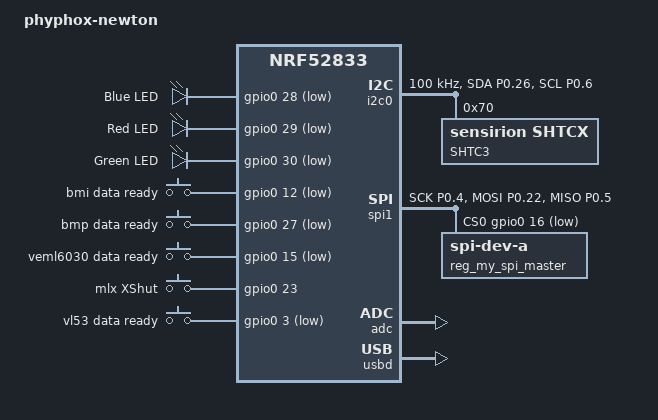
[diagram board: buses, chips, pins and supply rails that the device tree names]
/*
 * Copyright (c) 2017 Linaro Limited
 *
 * SPDX-License-Identifier: Apache-2.0
 */

 /dts-v1/;
 #include <nordic/nrf52833_qiaa.dtsi>
 
 / {
	 model = "phyphox-newton";
	 compatible = "phyphox,newton-n1";
	 aliases {
		i2c = &i2c0;
		spi= &spi1;
		led-blue = &led0;
		led-red = &led1;
		led-green = &led2;
		shtc-3 = &shtc3_node;
	 };
 
	 chosen {
		 zephyr,console = &uart0;
		 zephyr,shell-uart = &uart0;
		 zephyr,uart-mcumgr = &uart0;
		 zephyr,bt-mon-uart = &uart0;
		 zephyr,bt-c2h-uart = &uart0;
		 zephyr,sram = &sram0;
		 zephyr,flash = &flash0;
		 zephyr,code-partition = &slot0_partition;
	 };
 
	 leds {
		 compatible = "gpio-leds";
		 led0: led_0 {
			 gpios = <&gpio0 28 GPIO_ACTIVE_LOW>;
			 label = "Blue LED";
		 };
		 led1: led_1 {
			 gpios = <&gpio0 29 GPIO_ACTIVE_LOW>;
			 label = "Red LED";
		 };
		 led2: led_2 {
			gpios = <&gpio0 30 GPIO_ACTIVE_LOW>;
			label = "Green LED";
		};		 
	 };
	buttons {
		compatible = "gpio-keys";
		button0: button_0 { // INT1 P0.12 Gpio 15 ; INT2 P0.11 GPIO14
			gpios = <&gpio0 12 (GPIO_ACTIVE_LOW)>;
			label = "bmi data ready";
		};
		button1: button_1 { // gpio31 P0.27
			gpios = <&gpio0 27 (GPIO_ACTIVE_LOW)>;
			label = "bmp data ready";
		};
		button2: button_2 { // gpio40 P0.15
			gpios = <&gpio0 15 (GPIO_ACTIVE_LOW)>;
			label = "veml6030 data ready";
		};
		button3: button_3 { // gpio39 P0.23
			gpios = <&gpio0 23 (GPIO_ACTIVE_HIGH)>;
			label = "mlx XShut";
		};
		button4: button_4 { // gpio19 P0.03
			gpios = <&gpio0 3 (GPIO_ACTIVE_LOW)>;
			label = "vl53 data ready";
		};
	};
 };

 &pinctrl {
    i2c0_default: i2c0_default {
		group1 {
			psels = <NRF_PSEL(TWIM_SDA, 0, 26)>, <NRF_PSEL(TWIM_SCL, 0, 6)>;
		};
	};
    i2c0_sleep: i2c0_sleep {
		group1 {
			psels = <NRF_PSEL(TWIM_SDA, 0, 26)>, <NRF_PSEL(TWIM_SCL, 0, 6)>;
		};
	};
	spi_master_default: spi_master_default {
		group1 {
			psels = <NRF_PSEL(SPIM_SCK, 0, 4)>,
					<NRF_PSEL(SPIM_MOSI, 0, 22)>,
					<NRF_PSEL(SPIM_MISO, 0, 5)>;
		};
	};
	spi_master_sleep: spi_master_sleep {
		group1 {
			psels = <NRF_PSEL(SPIM_SCK, 0, 4)>,
					<NRF_PSEL(SPIM_MOSI, 0, 22)>,
					<NRF_PSEL(SPIM_MISO, 0, 5)>;
			low-power-enable;
		};
	};	
};

 i2c_0: &i2c0 {
    compatible = "nordic,nrf-twim";
    status = "okay";
    //sda-pin = < 26 >;
    //scl-pin = < 6 >;
	pinctrl-0 = <&i2c0_default>;
	pinctrl-1 = <&i2c0_sleep>;
	pinctrl-names = "default", "sleep";
    label = "i2c";
    clock-frequency = <I2C_BITRATE_STANDARD>;

	shtc3_node: shtcx@70 {
		compatible = "sensirion,shtcx";
		chip = "shtc3";
		measure-mode = "low-power";
		reg = <0x70>;
		label = "SHTC3";
	};
};

my_spi_master: &spi1 {
	compatible = "nordic,nrf-spim";
	status = "okay";
	pinctrl-0 = <&spi_master_default>;
	pinctrl-1 = <&spi_master_sleep>;
	pinctrl-names = "default", "sleep";
	cs-gpios = <&gpio0 16 GPIO_ACTIVE_LOW>;
	reg_my_spi_master: spi-dev-a@0 {
		reg = <0>;
	};
};
 
 &adc {
	 status = "okay";
 };
 
 &gpiote {
	 status = "okay";
 };
 
 &gpio0 {
	 status = "okay";
 };
 
 &gpio1 {
	 status = "okay";
 };
 
 &uart0 {
	 compatible = "nordic,nrf-uarte";
	 status = "disabled";
	 //current-speed = <115200>;
	 //tx-pin = <17>;
	 //rx-pin = <8>;
	 //rts-pin = <5>;
	 //cts-pin = <7>;
 };
 
 &flash0 {
 
	partitions {
		compatible = "fixed-partitions";
		#address-cells = <1>;
		#size-cells = <1>;

		boot_partition: partition@0 {
			label = "mcuboot";
			reg = <0x00000000 0xC000>;
		};
		slot0_partition: partition@c000 {
			label = "image-0";
			reg = <0x0000C000 0x37000>;
		};
		slot1_partition: partition@43000 {
			label = "image-1";
			reg = <0x00043000 0x37000>;
		};
		storage_partition: partition@7a000 {
			label = "storage";
			reg = <0x0007A000 0x00006000>;
		};
	};
 };
 
 &usbd {
	 compatible = "nordic,nrf-usbd";
	 status = "okay";
 };
 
